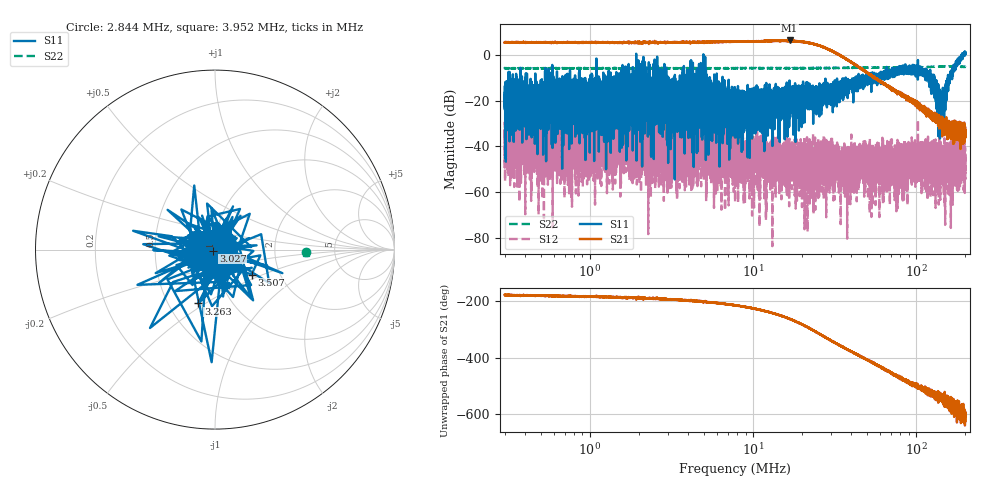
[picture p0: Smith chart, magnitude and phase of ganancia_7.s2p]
# Hz S DB R 50
! CMT, M5065, 19127446, 24.2.4/2
! Date: 11/1/2024 4:18:07 PM
! Data: Format (Calibration Info)
! Freq	S11:dB/Ang(F2)	S21:dB/Ang(F2)	S12:dB/Ang(F2)	S22:dB/Ang(F2)
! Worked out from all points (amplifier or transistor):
!   9000 points, 300 kHz to 200 MHz, reference 50 ohm
!   highest |S21| = 6.2 dB at 16.72 MHz (marker M1)
!   |S21| within 3 dB of that: start of sweep to 26.92 MHz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
!   unconditionally stable (mu >= 1): start of sweep to 1.92 MHz; 1.922 MHz to 4.955 MHz; 4.961 MHz to 190.2 MHz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
!   at 886.8 kHz: K = 9.79, MAG = 6.7 dB, |S12| = -33.9 dB
!   at 7.749 MHz: K = 48.08, MAG = 7.1 dB, |S12| = -48.1 dB
!   at 200 MHz: K = -847.71, MSG = 4.5 dB, |S12| = -44.7 dB
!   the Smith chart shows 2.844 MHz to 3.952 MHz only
!   S11 on the Smith chart (normalised r, x): 2.844 MHz: 0.98, +0.26; 3.027 MHz: 0.98, -0.01; 3.263 MHz: 0.70, -0.47; 3.507 MHz: 1.44, -0.43; 3.952 MHz: 1.04, -0.42
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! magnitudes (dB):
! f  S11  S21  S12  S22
! 300 kHz  -21.2  5.3  -36.2  -5.9
! 322.9 kHz  -21.1  5.4  -35.4  -5.9
! 886.8 kHz  -21.3  5.4  -33.9  -5.8
! 1.576 MHz  -28.7  5.4  -46.1  -5.9
! 1.683 MHz  -7.8  5.4  -31.0  -5.8
! 1.812 MHz  -28.9  5.3  -45.6  -5.9
! 2.621 MHz  -16.2  5.3  -53.0  -5.9
! 2.844 MHz  -17.7  5.3  -37.2  -5.9
! 3.027 MHz  -39.4  5.4  -42.6  -5.9
! 3.263 MHz  -10.1  5.5  -47.1  -5.9
! 3.507 MHz  -12.1  5.4  -28.3  -5.8
! 3.952 MHz  -13.8  5.5  -45.4  -5.9
! 7.749 MHz  -19.3  5.7  -48.1  -5.8
! 16.72 MHz  -11.3  6.2  -46.3  -5.8
! 22.91 MHz  -16.0  4.9  -58.0  -5.8
! 26.28 MHz  -17.3  3.5  -59.7  -5.8
! 67.71 MHz  -9.6  -14.2  -45.5  -5.5
! 108.8 MHz  -9.1  -22.5  -48.5  -5.4
! 124.5 MHz  -13.4  -27.9  -37.8  -5.3
! 143.4 MHz  -20.4  -29.5  -44.1  -5.2
! 166 MHz  -6.4  -35.5  -39.6  -5.2
! 200 MHz  0.9  -35.8  -44.7  -5.3
